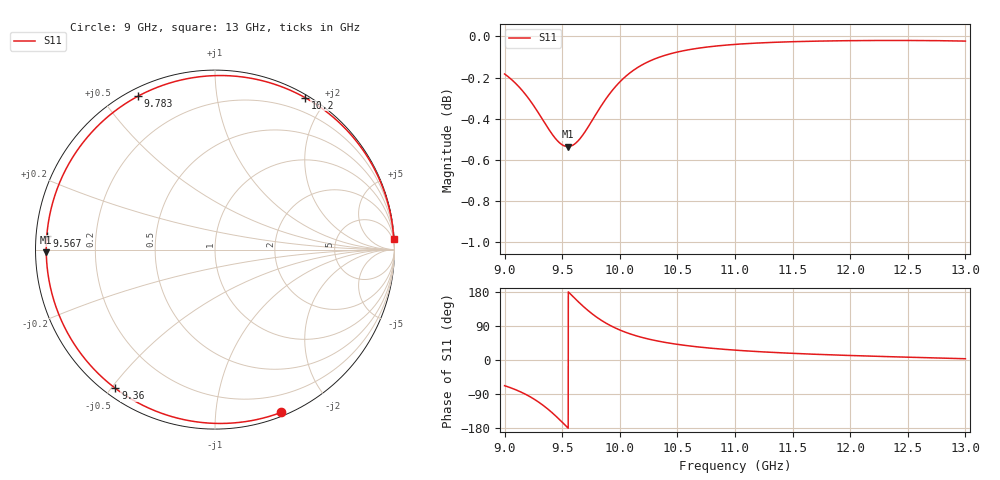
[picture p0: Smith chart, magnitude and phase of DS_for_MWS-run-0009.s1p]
! TOUCHSTONE file generated by CST DESIGN STUDIO
! Date and time: Tue Feb  4 14:16:06 2025
! Project name: C:\Work\MatlabApps\UnitCellOptimizationMatlab\CST\unitcell.cst
! Tree item: Tasks\Sweep1\SPara1\S-Parameters
! Header version: 2024
! Port assignment regex: !\s*Touchstone port\s*([0-9]+)\s*=\s*(CST MWS port|CST DES external port|CST DES block port)\s*(.+)\s* \(\"(.*)\"\)(\s*mode\s*([0-9]+))?.*
! Touchstone port assignment:
! Touchstone port 1 = CST DES external port 1 ("")
# GHz S MA R 50
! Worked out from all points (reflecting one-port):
!   4001 points, 9 GHz to 13 GHz, reference 50 ohm
!   lowest |S11| = -0.5 dB at 9.549 GHz (marker M1), VSWR 32.44, Z = 1.54 - j0.423 ohm
!   phase of S11 starts at -68 deg and turns -289 deg over the sweep
!   S11 on the Smith chart (normalised r, x): 9 GHz: 0.03, -1.49; 9.36 GHz: 0.03, -0.51; 9.567 GHz: 0.03, +0.04; 9.783 GHz: 0.03, +0.62; 10.2 GHz: 0.03, +1.75; 13 GHz: 2, +34
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9  0.9792 -67.8
9.104  0.9735 -79.5
9.215  0.9653 -95.9
9.291  0.9583 -110.2
9.36  0.9516 -125.7
9.427  0.9456 -143.1
9.465  0.9429 -153.8
9.5  0.9411 -164.2
9.549  0.9402 -179.0
9.567  0.9403 175.5
9.621  0.9422 159.2
9.681  0.9465 142.0
9.732  0.9513 128.6
9.783  0.9564 116.5
9.829  0.961 106.8
9.879  0.9656 97.4
9.935  0.9702 88.3
10  0.9748 79.2
10.093  0.98 68.6
10.195  0.9842 59.4
10.335  0.9883 49.7
10.5  0.9913 41.3
10.721  0.9938 33.2
11  0.9955 26.0
11.5  0.997 17.6
12  0.9976 11.9
12.5  0.9977 7.4
13  0.9974 3.3
